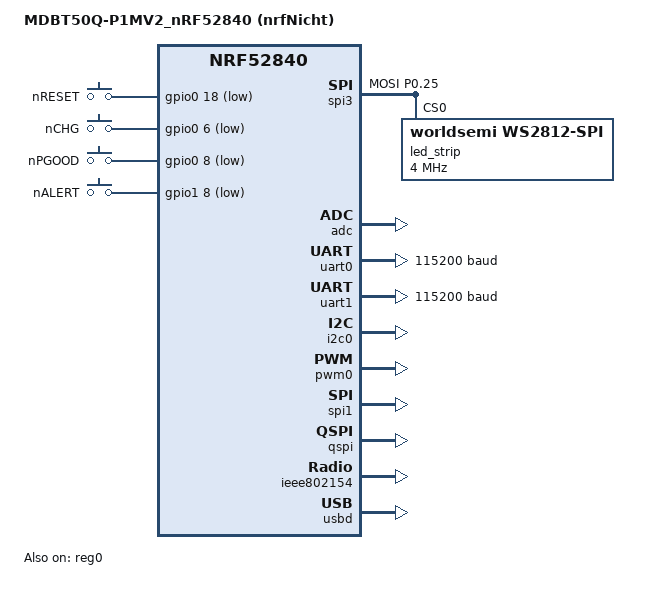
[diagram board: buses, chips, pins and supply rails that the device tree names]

/dts-v1/;
#include <nordic/nrf52840_qiaa.dtsi>
#include <zephyr/dt-bindings/input/input-event-codes.h>
#include "nrfNicht_nrf52840-pinctrl.dtsi"
#include <dt-bindings/led/led.h>
#include "nrf52840_partition.dtsi"

/ {
	model = "MDBT50Q-P1MV2_nRF52840 (nrfNicht)";
	compatible = "mkl,nrfNicht";

	chosen {
		zephyr,console = &uart0;
		zephyr,shell-uart = &uart0;
		zephyr,uart-mcumgr = &uart0;
		zephyr,bt-mon-uart = &uart0;
		zephyr,bt-c2h-uart = &uart0;
		zephyr,ieee802154 = &ieee802154;
	};



	buttons {
		compatible = "gpio-keys";

		button0: button_0 {
			gpios = <&gpio0 18 (GPIO_PULL_UP | GPIO_ACTIVE_LOW)>;
			label = "nRESET";
			zephyr,code = <INPUT_KEY_0>;
		};

		button1: button_1{
			gpios = <&gpio0 6 (GPIO_PULL_UP | GPIO_ACTIVE_LOW)>;
			label = "nCHG";
			zephyr,code = <INPUT_KEY_1>;
		};
		button2: button_2{
			gpios = <&gpio0 8 (GPIO_PULL_UP | GPIO_ACTIVE_LOW)>;
			label = "nPGOOD";
			zephyr,code = <INPUT_KEY_2>;
		};
		button3: button_3{
			gpios = <&gpio1 8 (GPIO_PULL_UP | GPIO_ACTIVE_LOW)>;
			label = "nALERT";
			zephyr,code = <INPUT_KEY_3>;
		};
	};

	/* These aliases are provided for compatibility with samples */
	aliases {
		mcuboot-button0 = &button0;
		watchdog0 = &wdt0;
	};
};

&pinctrl {
	spi3_default: spi3_default {
		group1 {
		psels = <NRF_PSEL(SPIM_MOSI, 0, 25)>;
		};
	};

	spi3_sleep: spi3_sleep {
		group1 {
		psels = <NRF_PSEL(SPIM_MOSI, 0, 25)>;
		low-power-enable;
		};
	};
};

&spi3 {
	compatible = "nordic,nrf-spim";
	status = "okay";

	pinctrl-0 = <&spi3_default>;
	pinctrl-1 = <&spi3_sleep>;
	pinctrl-names = "default", "sleep";

	led_strip: ws2812@0 {
		compatible = "worldsemi,ws2812-spi";

		/* SPI */
		reg = <0>; /* ignored, but necessary for SPI bindings */
		spi-max-frequency = <4000000>;

		/* WS2812 */
		chain-length = <10>; /* number of LEDs */
		spi-one-frame = <0x70>;
		spi-zero-frame = <0x40>;
		color-mapping = <LED_COLOR_ID_GREEN
				LED_COLOR_ID_RED
				LED_COLOR_ID_BLUE>;
	};
};

&reg0 {
	status = "okay";
};

&reg1 {
	regulator-initial-mode = <1>; // according to file on zephyr GH
};

&adc {
	status = "okay";
};

&uicr {
	gpio-as-nreset;
};

&gpiote {
	status = "okay";
};

&gpio0 {
	status = "okay";
};

&gpio1 {
	status = "okay";
};

&uart0 {
	compatible = "nordic,nrf-uarte";
	status = "okay";
	current-speed = <115200>;
	pinctrl-0 = <&uart0_default>;
	pinctrl-1 = <&uart0_sleep>;
	pinctrl-names = "default", "sleep";
};

&uart1 {
	compatible = "nordic,nrf-uarte";
	status = "okay";
	current-speed = <115200>;
	pinctrl-0 = <&uart1_default>;
	pinctrl-1 = <&uart1_sleep>;
	pinctrl-names = "default", "sleep";
};

&i2c0 {
	compatible = "nordic,nrf-twi";
	status = "okay";
	pinctrl-0 = <&i2c0_default>;
	pinctrl-1 = <&i2c0_sleep>;
	pinctrl-names = "default", "sleep";
};

&i2c1 {
	compatible = "nordic,nrf-twi";
	/* Cannot be used together with spi1. */
	/* status = "okay"; */
	pinctrl-0 = <&i2c1_default>;
	pinctrl-1 = <&i2c1_sleep>;
	pinctrl-names = "default", "sleep";
};

&pwm0 {
	status = "okay";
	pinctrl-0 = <&pwm0_default>;
	pinctrl-1 = <&pwm0_sleep>;
	pinctrl-names = "default", "sleep";
};

&spi0 {
	compatible = "nordic,nrf-spi";
	/* Cannot be used together with i2c0. */
	/* status = "okay"; */
	pinctrl-0 = <&spi0_default>;
	pinctrl-1 = <&spi0_sleep>;
	pinctrl-names = "default", "sleep";
};

&spi1 {
	compatible = "nordic,nrf-spi";
	status = "okay";
	pinctrl-0 = <&spi1_default>;
	pinctrl-1 = <&spi1_sleep>;
	pinctrl-names = "default", "sleep";
};

&spi2 {
	compatible = "nordic,nrf-spi";
	status = "disabled";
	pinctrl-0 = <&spi2_default>;
	pinctrl-1 = <&spi2_sleep>;
	pinctrl-names = "default", "sleep";
};

&qspi {
	status = "okay";
	pinctrl-0 = <&qspi_default>;
	pinctrl-1 = <&qspi_sleep>;
	pinctrl-names = "default", "sleep";
};

&ieee802154 {
	status = "okay";
};

zephyr_udc0: &usbd {
	compatible = "nordic,nrf-usbd";
	status = "okay";
};
